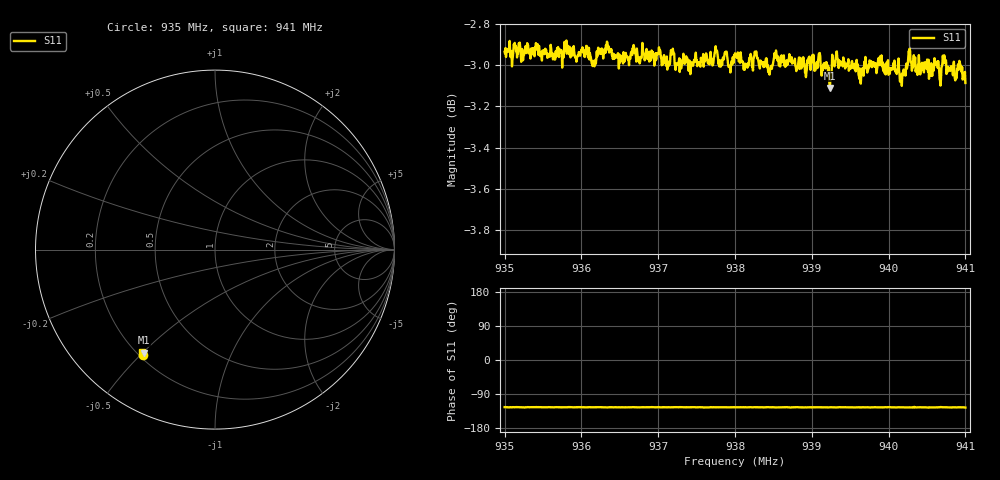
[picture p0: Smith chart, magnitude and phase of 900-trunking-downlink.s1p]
! Calibrated averaged scanner-service zoom
# Hz S RI R 50
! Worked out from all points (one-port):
!   1001 points, 935 MHz to 941 MHz, reference 50 ohm
!   lowest |S11| = -3.1 dB at 939.236 MHz (marker M1), VSWR 5.64, Z = 11.2 - j25.2 ohm
!   |S11| at or under -10 dB: nowhere
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9.35e8  -0.4035 -0.5882
9.3575e8  -0.4033 -0.5807
9.365e8  -0.404 -0.5826
9.36674e8  -0.4032 -0.5884
9.3725e8  -0.4043 -0.5813
9.37544e8  -0.4009 -0.5833
9.37616e8  -0.409 -0.5805
9.37694e8  -0.4045 -0.5831
9.37934e8  -0.4056 -0.5797
9.38e8  -0.4041 -0.587
9.38432e8  -0.3984 -0.5821
9.38534e8  -0.4105 -0.584
9.3875e8  -0.4058 -0.5811
9.38924e8  -0.4042 -0.5755
9.39086e8  -0.4038 -0.585
9.39236e8  -0.3973 -0.5751
9.39302e8  -0.4078 -0.579
9.395e8  -0.4022 -0.5822
9.39896e8  -0.4047 -0.581
9.40166e8  -0.401 -0.579
9.4025e8  -0.4083 -0.5788
9.40346e8  -0.405 -0.5845
9.4052e8  -0.4117 -0.5786
9.4067e8  -0.395 -0.5803
9.40718e8  -0.4025 -0.5833
9.40856e8  -0.404 -0.5788
9.40928e8  -0.4031 -0.583
9.41e8  -0.4062 -0.5713
